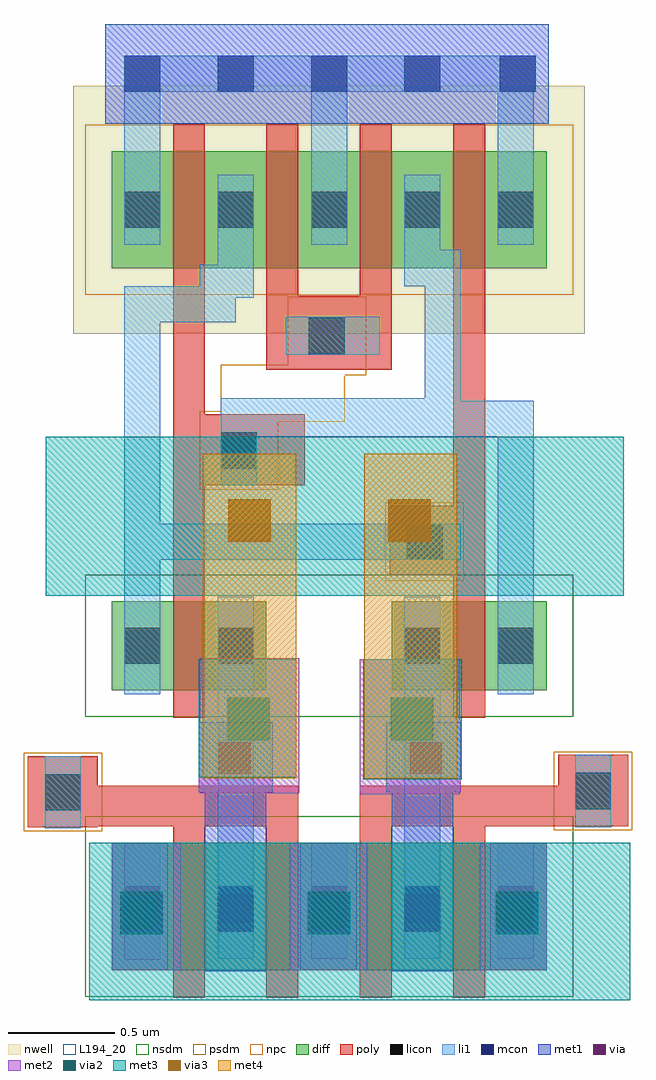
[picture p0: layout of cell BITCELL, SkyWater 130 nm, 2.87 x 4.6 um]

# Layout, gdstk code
import gdstk
lib = gdstk.Library(unit=1e-6, precision=1e-09)
def R(c, l, rs):  # rectangles x0, y0, x1, y1
    for r in rs: c.add(gdstk.rectangle(r[:2], r[2:], *l))
def A(c, l, x, y, w, h, nx, ny, dx, dy):  # array of equal rectangles
    R(c, l, [(x+i*dx, y+j*dy, x+i*dx+w, y+j*dy+h) for i in range(nx) for j in range(ny)])
nwell = (64, 20)
diff = (65, 20)
poly = (66, 20)
licon = (66, 44)
li1 = (67, 20)
mcon = (67, 44)
met1 = (68, 20)
via = (68, 44)
met2 = (69, 20)
via2 = (69, 44)
met3 = (70, 20)
via3 = (70, 44)
met4 = (71, 20)
nsdm = (93, 44)
psdm = (94, 20)
npc = (95, 20)
L194_20 = (194, 20)

sky130_fd_pr__pfet_01v8_ = lib.new_cell('sky130_fd_pr__pfet_01v8_Z9CWMR')
R(sky130_fd_pr__pfet_01v8_, nwell, [(-0.545,-0.585,0.545,0.585)])
R(sky130_fd_pr__pfet_01v8_, diff, [(-0.365,-0.275,0.365,0.275)])
R(sky130_fd_pr__pfet_01v8_, poly, [(-0.075,-0.405,0.075,0.405)])
R(sky130_fd_pr__pfet_01v8_, licon, [(-0.305,-0.085,-0.135,0.085), (0.135,-0.085,0.305,0.085)])
R(sky130_fd_pr__pfet_01v8_, li1, [(-0.305,-0.165,-0.135,0.165), (0.135,-0.165,0.305,0.165)])
R(sky130_fd_pr__pfet_01v8_, psdm, [(-0.49,-0.4,0.49,0.4)])

c_sky130_fd_pr__pfet_01v8_ = lib.new_cell('sky130_fd_pr__pfet_01v8_HMCWMR')
R(c_sky130_fd_pr__pfet_01v8_, nwell, [(-0.545,-0.585,0.545,0.585)])
R(c_sky130_fd_pr__pfet_01v8_, diff, [(-0.365,-0.275,0.365,0.275)])
R(c_sky130_fd_pr__pfet_01v8_, poly, [(-0.075,-0.405,0.075,0.405)])
R(c_sky130_fd_pr__pfet_01v8_, licon, [(-0.305,-0.085,-0.135,0.085), (0.135,-0.085,0.305,0.085)])
R(c_sky130_fd_pr__pfet_01v8_, li1, [(-0.305,-0.165,-0.135,0.165), (0.135,-0.165,0.305,0.165)])
R(c_sky130_fd_pr__pfet_01v8_, psdm, [(-0.49,-0.4,0.49,0.4)])

sky130_fd_pr__nfet_01v8_ = lib.new_cell('sky130_fd_pr__nfet_01v8_PKCY66')
R(sky130_fd_pr__nfet_01v8_, diff, [(-0.365,-0.21,0.365,0.21)])
R(sky130_fd_pr__nfet_01v8_, poly, [(-0.075,-0.34,0.075,0.34)])
R(sky130_fd_pr__nfet_01v8_, licon, [(-0.305,-0.085,-0.135,0.085), (0.135,-0.085,0.305,0.085)])
R(sky130_fd_pr__nfet_01v8_, li1, [(-0.305,-0.23,-0.135,0.23), (0.135,-0.23,0.305,0.23)])
R(sky130_fd_pr__nfet_01v8_, nsdm, [(-0.49,-0.335,0.49,0.335)])

senseamp = lib.new_cell('SENSEAMP')
R(senseamp, poly, [(1.49,-1.125,1.79,-1.12), (0.47,-1.12,0.62,-0.705), (1.49,-1.12,1.94,-0.8), (1.79,-0.8,1.94,0.23), (0.47,-0.705,1.09,-0.37), (0.47,-0.37,0.62,0.31), (0.91,-0.16,1.5,0.19)])
R(senseamp, licon, [(1.57,-1.055,1.74,-0.885), (0.695,-0.625,0.865,-0.455), (1.11,-0.085,1.28,0.085)])
A(senseamp, li1, 0.24, 0.43, 0.17, 0.72, 3, 1, 0.88, 0)
R(senseamp, li1, [(0.68,-1.85,0.85,-1.69), (1.56,-1.84,1.73,-1.69), (0.405,-1.27,0.41,-1.265), (0.24,-1.265,0.41,-1.055), (2,-1.24,2.17,-0.475), (0.24,-1.055,1.825,-0.885), (0.24,-0.885,0.41,0.065), (0.695,-0.705,0.865,-0.475), (0.695,-0.475,2.17,-0.305), (0.695,-0.305,1.825,-0.295), (1.655,-0.295,1.825,0.235), (1,-0.09,1.445,0.09), (0.24,0.065,0.765,0.18), (0.24,0.18,0.85,0.235), (0.595,0.235,0.85,0.335), (1.56,0.235,1.825,0.405), (0.68,0.335,0.85,0.43), (1.56,0.405,1.73,0.43), (0.24,1.15,2.18,1.32)])
A(senseamp, mcon, 0.24, 1.15, 0.17, 0.17, 4, 1, 0.44, 0)
R(senseamp, mcon, [(2.01,1.15,2.18,1.32)])
R(senseamp, met1, [(0.15,1,2.24,1.47)])
R(senseamp, nsdm, [(1.035,-1.795,1.375,-1.125)])
R(senseamp, npc, [(1.47,-1.155,1.84,-0.785), (0.595,-0.725,0.965,-0.405), (0.595,-0.405,1.28,-0.355), (0.695,-0.355,1.28,-0.185), (0.695,-0.185,1.38,-0.135), (1.01,-0.135,1.38,0.185)])
senseamp.add(gdstk.Reference(sky130_fd_pr__pfet_01v8_, (1.865,0.595)))
senseamp.add(gdstk.Reference(c_sky130_fd_pr__pfet_01v8_, (1.425,0.595)))
senseamp.add(gdstk.Reference(c_sky130_fd_pr__pfet_01v8_, (0.985,0.595)))
senseamp.add(gdstk.Reference(c_sky130_fd_pr__pfet_01v8_, (0.545,0.595)))
senseamp.add(gdstk.Reference(sky130_fd_pr__nfet_01v8_, (1.865,-1.46)))
senseamp.add(gdstk.Reference(sky130_fd_pr__nfet_01v8_, (0.545,-1.46)))
senseamp.add(gdstk.Label('VCC', (0.33,1.22), layer=68, texttype=16))
senseamp.add(gdstk.Label('SENSE_N', (1.2,0), layer=67, texttype=16))
senseamp.add(gdstk.Label('Q', (0.32,-0.49), layer=67, texttype=16))
senseamp.add(gdstk.Label('QN', (2.08,-0.39), layer=67, texttype=16))
senseamp.add(gdstk.Label('I1', (0.77,-1.77), layer=67, texttype=16))
senseamp.add(gdstk.Label('I0', (1.65,-1.77), layer=67, texttype=16))

bitcell = lib.new_cell('BITCELL')
R(bitcell, diff, [(2.97,-0.695,5.02,-0.095)])
A(bitcell, poly, 3.26, -0.825, 0.15, 0.81, 4, 1, 0.44, 0)
R(bitcell, poly, [(2.575,-0.02,2.905,-0.015), (2.575,-0.015,3.85,0.175), (4.14,-0.015,5.405,0.175), (2.575,0.175,2.905,0.315), (5.075,0.175,5.405,0.32)])
A(bitcell, licon, 3.03, -0.47, 0.17, 0.17, 5, 1, 0.44, 0)
R(bitcell, licon, [(2.655,0.06,2.825,0.23), (5.155,0.065,5.325,0.235)])
R(bitcell, li1, [(3.03,-0.645,3.2,-0.095), (3.47,-0.64,3.64,0.485), (3.91,-0.64,4.08,-0.095), (4.35,-0.64,4.52,0.485), (4.79,-0.64,4.96,-0.095), (2.655,-0.025,2.825,0.315), (5.155,-0.02,5.325,0.32), (3.54,0.485,3.64,0.565), (4.355,0.485,4.52,0.625), (3.47,0.565,3.64,0.615)])
A(bitcell, mcon, 3.03, -0.51, 0.17, 0.17, 5, 1, 0.44, 0)
R(bitcell, met1, [(3.41,-0.7,3.7,0.145), (4.29,-0.7,4.58,0.145), (2.97,-0.695,3.235,-0.095), (3.86,-0.695,4.125,-0.095), (4.755,-0.695,5.02,-0.095), (3.38,0.145,3.73,0.475), (4.265,0.145,4.615,0.475)])
R(bitcell, via, [(3.025,-0.5,3.175,-0.35), (3.915,-0.5,4.065,-0.35), (4.81,-0.5,4.96,-0.35), (3.475,0.23,3.625,0.38), (4.375,0.23,4.525,0.38)])
R(bitcell, met2, [(2.97,-0.695,3.295,-0.095), (3.81,-0.695,4.175,-0.095), (4.705,-0.695,5.02,-0.095), (4.14,0.135,4.61,0.145), (3.385,0.14,3.855,0.145), (3.38,0.145,3.855,0.475), (4.14,0.145,4.615,0.48), (3.385,0.475,3.855,0.775), (4.14,0.48,4.61,0.77)])
A(bitcell, via2, 3.01, -0.525, 0.2, 0.2, 3, 1, 0.885, 0)
R(bitcell, via2, [(3.515,0.39,3.715,0.59), (4.285,0.39,4.485,0.59)])
R(bitcell, met3, [(2.865,-0.835,5.415,-0.095), (4.155,0.205,4.62,0.77), (3.38,0.215,3.84,0.77), (2.66,1.07,5.385,1.82)])
R(bitcell, via3, [(3.52,1.325,3.72,1.525), (4.275,1.325,4.475,1.525)])
R(bitcell, met4, [(3.4,0.21,3.84,1.74), (4.16,0.21,4.6,1.74)])
R(bitcell, nsdm, [(2.845,-0.82,5.145,0.03)])
R(bitcell, npc, [(2.555,-0.04,2.925,0.33), (5.055,-0.035,5.425,0.335)])
R(bitcell, L194_20, [(3.54,0.465,3.64,0.565), (4.35,0.465,4.45,0.565)])
bitcell.add(gdstk.Reference(senseamp, (2.79,2.295)))

lib.write_gds('BITCELL.gds')
